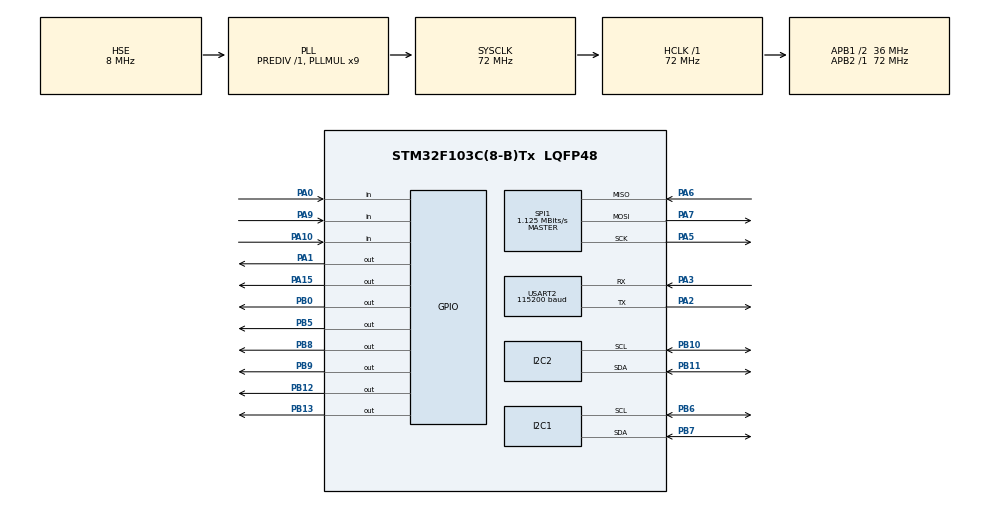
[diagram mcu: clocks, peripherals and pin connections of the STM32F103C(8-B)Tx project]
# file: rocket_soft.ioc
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I2C1.I2C_Mode=I2C_Standard
I2C2.I2C_Mode=I2C_Standard
Mcu.Family=STM32F1
Mcu.Name=STM32F103C(8-B)Tx
Mcu.Package=LQFP48
NVIC.I2C1_ER_IRQn=true\:0\:0\:true\:false\:true\:true\:true\:true
NVIC.I2C1_EV_IRQn=true\:1\:0\:true\:false\:true\:true\:true\:true
NVIC.I2C2_ER_IRQn=true\:0\:0\:false\:false\:true\:true\:true\:true
NVIC.I2C2_EV_IRQn=true\:0\:0\:true\:false\:true\:true\:true\:true
NVIC.PriorityGroup=NVIC_PRIORITYGROUP_4
NVIC.SPI1_IRQn=true\:0\:0\:false\:false\:true\:true\:true\:true
NVIC.TIM4_IRQn=true\:0\:0\:true\:false\:true\:true\:true\:true
NVIC.USART2_IRQn=true\:0\:0\:false\:false\:true\:true\:true\:true
PA0-WKUP.GPIO_PuPd=GPIO_NOPULL
PA0-WKUP.Signal=GPIO_Input
PA1.Signal=GPIO_Output
PA10.GPIO_PuPd=GPIO_PULLDOWN
PA10.Signal=GPIO_Input
PA13.Mode=Serial_Wire
PA13.Signal=SYS_JTMS-SWDIO
PA14.Mode=Serial_Wire
PA14.Signal=SYS_JTCK-SWCLK
PA15.Signal=GPIO_Output
PA2.Mode=Asynchronous
PA2.Signal=USART2_TX
PA3.Mode=Asynchronous
PA3.Signal=USART2_RX
PA5.Mode=Full_Duplex_Master
PA5.Signal=SPI1_SCK
PA6.Mode=Full_Duplex_Master
PA6.Signal=SPI1_MISO
PA7.Mode=Full_Duplex_Master
PA7.Signal=SPI1_MOSI
PA9.GPIO_PuPd=GPIO_PULLDOWN
PA9.Signal=GPIO_Input
PB0.Signal=GPIO_Output
PB10.Mode=I2C
PB10.Signal=I2C2_SCL
PB11.Mode=I2C
PB11.Signal=I2C2_SDA
PB12.Signal=GPIO_Output
PB13.Signal=GPIO_Output
PB5.Signal=GPIO_Output
PB6.Mode=I2C
PB6.Signal=I2C1_SCL
PB7.Mode=I2C
PB7.Signal=I2C1_SDA
PB8.Signal=GPIO_Output
PB9.Signal=GPIO_Output
PD0-OSC_IN.Mode=HSE-External-Oscillator
PD0-OSC_IN.Signal=RCC_OSC_IN
PD1-OSC_OUT.Mode=HSE-External-Oscillator
PD1-OSC_OUT.Signal=RCC_OSC_OUT
ProjectManager.HeapSize=0x200
ProjectManager.StackSize=0x400
ProjectManager.TargetToolchain=STM32CubeIDE
RCC.AHBFreq_Value=72000000
RCC.APB1CLKDivider=RCC_HCLK_DIV2
RCC.APB1Freq_Value=36000000
RCC.APB1TimFreq_Value=72000000
RCC.APB2Freq_Value=72000000
RCC.APB2TimFreq_Value=72000000
RCC.HCLKFreq_Value=72000000
RCC.PLLMUL=RCC_PLL_MUL9
RCC.PLLSourceVirtual=RCC_PLLSOURCE_HSE
RCC.SYSCLKFreq_VALUE=72000000
RCC.SYSCLKSource=RCC_SYSCLKSOURCE_PLLCLK
RCC.USBFreq_Value=72000000
SPI1.BaudRatePrescaler=SPI_BAUDRATEPRESCALER_64
SPI1.CalculateBaudRate=1.125 MBits/s
SPI1.Direction=SPI_DIRECTION_2LINES
SPI1.Mode=SPI_MODE_MASTER
SPI1.VirtualType=VM_MASTER
TIM4.AutoReloadPreload=TIM_AUTORELOAD_PRELOAD_DISABLE
TIM4.Period=50
TIM4.Prescaler=7199
USART2.BaudRate=115200
USART2.VirtualMode=VM_ASYNC
VP_TIM4_VS_ClockSourceINT.Mode=Internal
board=custom

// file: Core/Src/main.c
/* USER CODE BEGIN Header */
/**
  ******************************************************************************
  * @file           : main.c
  * @brief          : Main program body
  ******************************************************************************
  * @attention
  *
  * Copyright (c) 2023 STMicroelectronics.
  * All rights reserved.
  *
  * This software is licensed under terms that can be found in the LICENSE file
  * in the root directory of this software component.
  * If no LICENSE file comes with this software, it is provided AS-IS.
  *
  ******************************************************************************
  */
/* USER CODE END Header */
#include "main.h"

I2C_HandleTypeDef hi2c1;
I2C_HandleTypeDef hi2c2;

SPI_HandleTypeDef hspi1;

TIM_HandleTypeDef htim4;

UART_HandleTypeDef huart2;

void SystemClock_Config(void);
static void MX_GPIO_Init(void);
static void MX_SPI1_Init(void);
static void MX_USART2_UART_Init(void);
static void MX_I2C1_Init(void);
static void MX_I2C2_Init(void);
static void MX_TIM4_Init(void);

/* USER CODE BEGIN 0 */

#define NUM_AMOSTRAS 20  // Número de amostras para verificar a tendência da altitude

// ESTADO DA FRAM E VEICULO, DADOS DO VEICULO: ACELERAÇÃO E PRESSÃO
extern FRAM_STATES FRAM_state;
Data_vehicle data_vehicle;
State_vehicle current_state;
estado_Altitude EstadoAltitude;
estado_Aceleracao EstadoAceleracao;

// MPU6050
extern AccelData acc_data;
extern GyroData gy_data;

// BMP280
extern BMP280_data bmp_data;

// MÉDIA MÓVEL EXPONENCIAL
extern Data_EMA ema_receive;
extern Data_transf data_rec;

int contSubida = 0;
int contDescida = 0;
float diffAceleracao;
extern uint8_t press_receiv ;

/* USER CODE END 0 */

int main(void)
{

  /* MCU Configuration--------------------------------------------------------*/

  /* Reset of all peripherals, Initializes the Flash interface and the Systick. */
  HAL_Init();

  /* Configure the system clock */
  SystemClock_Config();

  /* Initialize all configured peripherals */
  MX_GPIO_Init();
  MX_SPI1_Init();
  MX_USART2_UART_Init();
  MX_I2C1_Init();
  MX_I2C2_Init();
  MX_TIM4_Init();
  /* USER CODE BEGIN 2 */

  // INICIALIZAÇÀO DOS PINOS DE ACIONAMENTO E MONITORAMENTO DE CARGA
  HAL_GPIO_WritePin(GPIOB, GPIO_PIN_12, GPIO_PIN_RESET); 			// ACIONA CARGA 1 = 0
  HAL_GPIO_WritePin(GPIOB, GPIO_PIN_13, GPIO_PIN_RESET); 			// ACIONA CARGA 2 = 0
  GPIO_PinState pin_state1 = HAL_GPIO_ReadPin(GPIOA, GPIO_PIN_9); 	// Lê o estado do pino GPIO14 para carga 1; RESET = 0V -> HA CARGA
  GPIO_PinState pin_state2 = HAL_GPIO_ReadPin(GPIOA, GPIO_PIN_10); 	// Lê o estado do pino GPIO15 para carga 2; RESET = 0V -> HA CARGA

  // INICIALIZAÇÃO DE SENSORES
  MPU6050_Config();
  MPU6050_2_Config();
  BMP280_Config(OSRS_2, OSRS_16, MODE_NORMAL, T_SB_0p5, IIR_16);

  // INICIALIZÇÃO DO ESTADO E INDICADORES DE PRÉ LANÇAMENTO
  current_state = PAUSADO;
  EstadoAltitude = ESTADO_INICIAL;

  GPIO_PinState pin_button = HAL_GPIO_ReadPin(GPIOA, GPIO_PIN_0); 		// BUTTON
  HAL_GPIO_WritePin(GPIOB, GPIO_PIN_5, 	GPIO_PIN_RESET);  	// LED VERDE -> ESTADO LANÇADO
  HAL_GPIO_WritePin(GPIOB, GPIO_PIN_8, 	GPIO_PIN_RESET); 	// LED VERMELHO -> PAUSADO
  HAL_GPIO_WritePin(GPIOA, GPIO_PIN_15, GPIO_PIN_RESET);	// LED AMARELO -> ESTADO AGUARDANDO LANÇAMENTO
  HAL_GPIO_WritePin(GPIOA, GPIO_PIN_1, 	GPIO_PIN_RESET); 	// BUZER

  // INICIALIZAÇÃO DAS INTERRUPÇÕES
  HAL_TIM_Base_Start_IT(&htim4);

  // INICIALIZAÇÃO FRAM
  FRAM_state = FRAM_PAUSED;
  FRAMset_config();
  uint16_t FRAM_address = 0x0000;

  data_vehicle.pressMIN = 100000;
  extern uint8_t send_FRAM[16];
  extern uint8_t bytes_ID[4];
  // CÓDIGOS PARA SOFTWARE IN THE LOOP:
  extern SIL_DATA simulated_data;

  /* USER CODE END 2 */

  /* Infinite loop */
  /* USER CODE BEGIN WHILE */

 while (1)
 {
	 pin_state1 = HAL_GPIO_ReadPin(GPIOA, GPIO_PIN_9);
	 pin_state2 = HAL_GPIO_ReadPin(GPIOA, GPIO_PIN_10);
	 pin_button = HAL_GPIO_ReadPin(GPIOA, GPIO_PIN_0);

     // Verifica a tendência da aceleraçao
	 // data_vehicle.accel = simulated_data.accel_z;
	 //data_vehicle.accelTemp = data_vehicle.accel;

     // Verifica a tendência da aceleraçao
	 data_vehicle.accel = ema_receive.EMA_z;
	 data_vehicle.accelTemp = ema_receive.EMA_z;
     diffAceleracao = data_vehicle.accel - data_vehicle.accel_anterior;

     if (data_vehicle.accel > -0.1 && data_vehicle.accel < 0.1) {
    	 EstadoAceleracao = ACCEL_NEAR_ZERO;
     } else if ( -1.5 < data_vehicle.accel && data_vehicle.accel < -1) {
    	 EstadoAceleracao = ACCEL_NEAR_G;
     } else if (data_vehicle.accel > 1) {
    	 EstadoAceleracao = ACCEL_HIGH_POSITIVE;
     } else if (diffAceleracao < -0.1) {
    	 EstadoAceleracao = ACCEL_HIGH_NEGATIVE;
     } else {
    	 EstadoAceleracao = ACCEL_LOW_NEGATIVE;
     }

     // Verifica a tendência da altitude
     if (press_receiv == 1){
    	 press_receiv = 0;
    	 data_vehicle.pressao = ema_receive.EMA_press;
    	 data_vehicle.pressTemp = data_vehicle.pressao;

    	 if ( data_vehicle.pressao < data_vehicle.pressao_anterior){
    		 if (contSubida < 20)
    			 contSubida++;
    		 if (contDescida > 0)
    			 contDescida--;
    	 } else if ( data_vehicle.pressao > data_vehicle.pressao_anterior) {
    		 if (contDescida < 20)
    			 contDescida++;
    		 if (contSubida > 0 )
    			 contSubida--;
    	 } else if (data_vehicle.pressao == data_vehicle.pressao_anterior){
    		 if (contDescida > 0)
    		     contDescida--;
    		 if (contSubida > 0 )
    			 contSubida--;
    	 }
    	 data_vehicle.pressao_anterior = data_vehicle.pressTemp;
     }

     // MAQUINA DE ESTADOS PARA VERIFICAÇAO DA ALTITUDE
     switch (EstadoAltitude) {
         case ESTADO_INICIAL:
             if (contSubida >= NUM_AMOSTRAS) {
            	 EstadoAltitude = ESTADO_SUBIDA;
             } else if (contDescida >= NUM_AMOSTRAS) {
            	 EstadoAltitude = ESTADO_DESCIDA;
             } else if (contSubida == 0 && contDescida == 0) {
            	 EstadoAltitude = ESTADO_ESTACIONARIO;
             }
             break;

         case ESTADO_SUBIDA:
             if (contDescida >= NUM_AMOSTRAS) {
            	 EstadoAltitude = ESTADO_DESCIDA;
             } else if (contSubida == 0 && contDescida == 0) {
            	 EstadoAltitude = ESTADO_ESTACIONARIO;
             }else
             break;

         case ESTADO_DESCIDA:
             if (contSubida >= NUM_AMOSTRAS) {
            	 EstadoAltitude = ESTADO_SUBIDA;
             } else if (contSubida == 0 && contDescida == 0) {
            	 EstadoAltitude = ESTADO_ESTACIONARIO;
             }
             break;

         case ESTADO_ESTACIONARIO:
             if (contSubida >= NUM_AMOSTRAS - 5 ) {
            	 EstadoAltitude = ESTADO_SUBIDA;
             } else if (contDescida >= NUM_AMOSTRAS + 5) {
            	 EstadoAltitude = ESTADO_DESCIDA;
             }
             break;
     }
     data_vehicle.accel_anterior = data_vehicle.accelTemp;

	// MAQUINA DE ESTADOS DO FOGUETE
	switch (current_state){
		case PAUSADO:
			if (pin_state1 == GPIO_PIN_RESET && pin_state2 == GPIO_PIN_RESET && pin_button == GPIO_PIN_SET ){
				current_state = AGUARDANDO_LANCAMENTO;
				FRAM_state = FRAM_IDLE;
				FRAM_ID();
	          															// ***** JA FOI INICIADA A AQUISIÇÃO DE DADOS *****
	        															// CARGAS ESTÃO CONECTADAS, ENTRE EM ESTADO DE AGUARDANDO LANÇAMENTO
			}
			else {
				current_state = PAUSADO;
				HAL_GPIO_WritePin(GPIOB, GPIO_PIN_9, GPIO_PIN_SET); 	// LED VERMELHO para indicar PAUSA
			}
		break;
		case AGUARDANDO_LANCAMENTO:
			if (EstadoAceleracao == ACCEL_HIGH_POSITIVE){
				current_state = LANCADO;
			}
			else if (EstadoAceleracao == ACCEL_NEAR_ZERO && EstadoAltitude == ESTADO_ESTACIONARIO){
				HAL_GPIO_WritePin(GPIOB, GPIO_PIN_9, GPIO_PIN_RESET); 	// DESLIGA LED VERMELHO
				HAL_GPIO_WritePin(GPIOA, GPIO_PIN_1, GPIO_PIN_SET); 	// BUZZER INDICA AGUARDANDO LANÇAMENTO
				HAL_GPIO_WritePin(GPIOA, GPIO_PIN_15, GPIO_PIN_SET); 	// LED AMARELO INDICAÇÃO AGUARDANDO LANÇAMENTO
				current_state = AGUARDANDO_LANCAMENTO;
			}
		break;
		case LANCADO:
			if (EstadoAltitude == ESTADO_SUBIDA && EstadoAceleracao == ACCEL_HIGH_POSITIVE){
				HAL_GPIO_WritePin(GPIOA, GPIO_PIN_1, GPIO_PIN_RESET);	// DESLIGA BUZZER
				HAL_GPIO_WritePin(GPIOA, GPIO_PIN_15, GPIO_PIN_RESET);	// DESLIGA LED AMARELO
				HAL_GPIO_WritePin(GPIOB, GPIO_PIN_5,GPIO_PIN_SET); 		// LIGA LED VERDE DE LANÇADO
	          	current_state = LANCADO;
			}
			else if(EstadoAltitude == ESTADO_SUBIDA && EstadoAceleracao == ACCEL_LOW_NEGATIVE){
				current_state = DETECCAO_APOGEU ;
			}

			break;
	     case DETECCAO_APOGEU:
	          if (EstadoAceleracao == ACCEL_NEAR_G && EstadoAltitude == ESTADO_DESCIDA ){
	        	  if(data_vehicle.pressMIN > data_vehicle.pressao)
	        		  data_vehicle.pressMIN =  data_vehicle.pressao ;
	        	  current_state = DETECCAO_APOGEU;
	          }
	          else if ((EstadoAceleracao == ACCEL_LOW_NEGATIVE || EstadoAceleracao == ACCEL_HIGH_NEGATIVE) && EstadoAltitude ==  ESTADO_DESCIDA){
	        	  current_state = PARAQUEDAS_ACIONADO;
	        	  HAL_GPIO_WritePin(GPIOB, GPIO_PIN_12, GPIO_PIN_SET); // ACIONA CARGA 1 = 1;
	        	  HAL_GPIO_WritePin(GPIOB, GPIO_PIN_13, GPIO_PIN_SET); // ACIONA CARGA 2 = 1; paraquedas on
	        	  HAL_GPIO_WritePin(GPIOB, GPIO_PIN_5,GPIO_PIN_RESET); // DESLIGA O LED VERDE
	          }
	         break;
	     case PARAQUEDAS_ACIONADO:

	    	 break;
	  	default:
	  		 break;
	  }

	// MAQUINA DE ESTADOS DA FRAM
	switch(FRAM_state){
		case FRAM_PAUSED:

		break;
	  	case FRAM_READ_ID:
	  		FRAM_state = WAIT_FRAM_READ_ID;
	  		FRAM_ID();
	  		break;
		case ENABLE_WRITE:
			FRAM_state = WAIT_ENABLE_WRITE;
			FRAM_enablewrite();
	  		break;
		case FRAM_WRITE:
			FRAM_state = WAIT_FRAM_WRITE;
			FRAM_Write(FRAM_address, send_FRAM, 16);
			FRAM_address += 0x10;					// Incrementa a cada 16 bytes
	  		break;
		case FRAM_IDLE:

			break;
/*
		case FRAM_READ:
			FRAM_state = WAIT_FRAM_READ;
			FRAM_Read(data_receive, 16);
	  		break;

		case FRAM_IDLE:
			FRAM_state = ENABLE_WRITE;

		break;
*/
		default:
			break;
	}
    /* USER CODE END WHILE */

  }
}

void SystemClock_Config(void)
{
  RCC_OscInitTypeDef RCC_OscInitStruct = {0};
  RCC_ClkInitTypeDef RCC_ClkInitStruct = {0};

  /** Initializes the RCC Oscillators according to the specified parameters
  * in the RCC_OscInitTypeDef structure.
  */
  RCC_OscInitStruct.OscillatorType = RCC_OSCILLATORTYPE_HSE;
  RCC_OscInitStruct.HSEState = RCC_HSE_ON;
  RCC_OscInitStruct.HSEPredivValue = RCC_HSE_PREDIV_DIV1;
  RCC_OscInitStruct.HSIState = RCC_HSI_ON;
  RCC_OscInitStruct.PLL.PLLState = RCC_PLL_ON;
  RCC_OscInitStruct.PLL.PLLSource = RCC_PLLSOURCE_HSE;
  RCC_OscInitStruct.PLL.PLLMUL = RCC_PLL_MUL9;
  if (HAL_RCC_OscConfig(&RCC_OscInitStruct) != HAL_OK)
  {
    Error_Handler();
  }

  /** Initializes the CPU, AHB and APB buses clocks
  */
  RCC_ClkInitStruct.ClockType = RCC_CLOCKTYPE_HCLK|RCC_CLOCKTYPE_SYSCLK
                              |RCC_CLOCKTYPE_PCLK1|RCC_CLOCKTYPE_PCLK2;
  RCC_ClkInitStruct.SYSCLKSource = RCC_SYSCLKSOURCE_PLLCLK;
  RCC_ClkInitStruct.AHBCLKDivider = RCC_SYSCLK_DIV1;
  RCC_ClkInitStruct.APB1CLKDivider = RCC_HCLK_DIV2;
  RCC_ClkInitStruct.APB2CLKDivider = RCC_HCLK_DIV1;

  if (HAL_RCC_ClockConfig(&RCC_ClkInitStruct, FLASH_LATENCY_2) != HAL_OK)
  {
    Error_Handler();
  }
}

static void MX_I2C1_Init(void)
{

  hi2c1.Instance = I2C1;
  hi2c1.Init.ClockSpeed = 100000;
  hi2c1.Init.DutyCycle = I2C_DUTYCYCLE_2;
  hi2c1.Init.OwnAddress1 = 0;
  hi2c1.Init.AddressingMode = I2C_ADDRESSINGMODE_7BIT;
  hi2c1.Init.DualAddressMode = I2C_DUALADDRESS_DISABLE;
  hi2c1.Init.OwnAddress2 = 0;
  hi2c1.Init.GeneralCallMode = I2C_GENERALCALL_DISABLE;
  hi2c1.Init.NoStretchMode = I2C_NOSTRETCH_DISABLE;
  if (HAL_I2C_Init(&hi2c1) != HAL_OK)
  {
    Error_Handler();
  }

}

static void MX_I2C2_Init(void)
{

  hi2c2.Instance = I2C2;
  hi2c2.Init.ClockSpeed = 100000;
  hi2c2.Init.DutyCycle = I2C_DUTYCYCLE_2;
  hi2c2.Init.OwnAddress1 = 0;
  hi2c2.Init.AddressingMode = I2C_ADDRESSINGMODE_7BIT;
  hi2c2.Init.DualAddressMode = I2C_DUALADDRESS_DISABLE;
  hi2c2.Init.OwnAddress2 = 0;
  hi2c2.Init.GeneralCallMode = I2C_GENERALCALL_DISABLE;
  hi2c2.Init.NoStretchMode = I2C_NOSTRETCH_DISABLE;
  if (HAL_I2C_Init(&hi2c2) != HAL_OK)
  {
    Error_Handler();
  }

}

static void MX_SPI1_Init(void)
{

  /* SPI1 parameter configuration*/
  hspi1.Instance = SPI1;
  hspi1.Init.Mode = SPI_MODE_MASTER;
  hspi1.Init.Direction = SPI_DIRECTION_2LINES;
  hspi1.Init.DataSize = SPI_DATASIZE_8BIT;
  hspi1.Init.CLKPolarity = SPI_POLARITY_LOW;
  hspi1.Init.CLKPhase = SPI_PHASE_1EDGE;
  hspi1.Init.NSS = SPI_NSS_SOFT;
  hspi1.Init.BaudRatePrescaler = SPI_BAUDRATEPRESCALER_64;
  hspi1.Init.FirstBit = SPI_FIRSTBIT_MSB;
  hspi1.Init.TIMode = SPI_TIMODE_DISABLE;
  hspi1.Init.CRCCalculation = SPI_CRCCALCULATION_DISABLE;
  hspi1.Init.CRCPolynomial = 10;
  if (HAL_SPI_Init(&hspi1) != HAL_OK)
  {
    Error_Handler();
  }

}

static void MX_TIM4_Init(void)
{

  TIM_ClockConfigTypeDef sClockSourceConfig = {0};
  TIM_MasterConfigTypeDef sMasterConfig = {0};

  htim4.Instance = TIM4;
  htim4.Init.Prescaler = 7199;
  htim4.Init.CounterMode = TIM_COUNTERMODE_UP;
  htim4.Init.Period = 50;
  htim4.Init.ClockDivision = TIM_CLOCKDIVISION_DIV1;
  htim4.Init.AutoReloadPreload = TIM_AUTORELOAD_PRELOAD_DISABLE;
  if (HAL_TIM_Base_Init(&htim4) != HAL_OK)
  {
    Error_Handler();
  }
  sClockSourceConfig.ClockSource = TIM_CLOCKSOURCE_INTERNAL;
  if (HAL_TIM_ConfigClockSource(&htim4, &sClockSourceConfig) != HAL_OK)
  {
    Error_Handler();
  }
  sMasterConfig.MasterOutputTrigger = TIM_TRGO_RESET;
  sMasterConfig.MasterSlaveMode = TIM_MASTERSLAVEMODE_DISABLE;
  if (HAL_TIMEx_MasterConfigSynchronization(&htim4, &sMasterConfig) != HAL_OK)
  {
    Error_Handler();
  }

}

static void MX_USART2_UART_Init(void)
{

  huart2.Instance = USART2;
  huart2.Init.BaudRate = 115200;
  huart2.Init.WordLength = UART_WORDLENGTH_8B;
  huart2.Init.StopBits = UART_STOPBITS_1;
  huart2.Init.Parity = UART_PARITY_NONE;
  huart2.Init.Mode = UART_MODE_TX_RX;
  huart2.Init.HwFlowCtl = UART_HWCONTROL_NONE;
  huart2.Init.OverSampling = UART_OVERSAMPLING_16;
  if (HAL_UART_Init(&huart2) != HAL_OK)
  {
    Error_Handler();
  }

}

static void MX_GPIO_Init(void)
{
  GPIO_InitTypeDef GPIO_InitStruct = {0};

  /* GPIO Ports Clock Enable */
  __HAL_RCC_GPIOD_CLK_ENABLE();
  __HAL_RCC_GPIOA_CLK_ENABLE();
  __HAL_RCC_GPIOB_CLK_ENABLE();

  /*Configure GPIO pin Output Level */
  HAL_GPIO_WritePin(GPIOA, GPIO_PIN_1|GPIO_PIN_15, GPIO_PIN_RESET);

  /*Configure GPIO pin Output Level */
  HAL_GPIO_WritePin(GPIOB, GPIO_PIN_0|GPIO_PIN_12|GPIO_PIN_13|GPIO_PIN_5
                          |GPIO_PIN_8|GPIO_PIN_9, GPIO_PIN_RESET);

  /*Configure GPIO pin : PA0 */
  GPIO_InitStruct.Pin = GPIO_PIN_0;
  GPIO_InitStruct.Mode = GPIO_MODE_INPUT;
  GPIO_InitStruct.Pull = GPIO_NOPULL;
  HAL_GPIO_Init(GPIOA, &GPIO_InitStruct);

  /*Configure GPIO pins : PA1 PA15 */
  GPIO_InitStruct.Pin = GPIO_PIN_1|GPIO_PIN_15;
  GPIO_InitStruct.Mode = GPIO_MODE_OUTPUT_PP;
  GPIO_InitStruct.Pull = GPIO_NOPULL;
  GPIO_InitStruct.Speed = GPIO_SPEED_FREQ_LOW;
  HAL_GPIO_Init(GPIOA, &GPIO_InitStruct);

  /*Configure GPIO pins : PB0 PB12 PB13 PB5
                           PB8 PB9 */
  GPIO_InitStruct.Pin = GPIO_PIN_0|GPIO_PIN_12|GPIO_PIN_13|GPIO_PIN_5
                          |GPIO_PIN_8|GPIO_PIN_9;
  GPIO_InitStruct.Mode = GPIO_MODE_OUTPUT_PP;
  GPIO_InitStruct.Pull = GPIO_NOPULL;
  GPIO_InitStruct.Speed = GPIO_SPEED_FREQ_LOW;
  HAL_GPIO_Init(GPIOB, &GPIO_InitStruct);

  /*Configure GPIO pins : PA9 PA10 */
  GPIO_InitStruct.Pin = GPIO_PIN_9|GPIO_PIN_10;
  GPIO_InitStruct.Mode = GPIO_MODE_INPUT;
  GPIO_InitStruct.Pull = GPIO_PULLDOWN;
  HAL_GPIO_Init(GPIOA, &GPIO_InitStruct);

}

void Error_Handler(void)
{
  __disable_irq();
  while (1)
  {
  }
}
